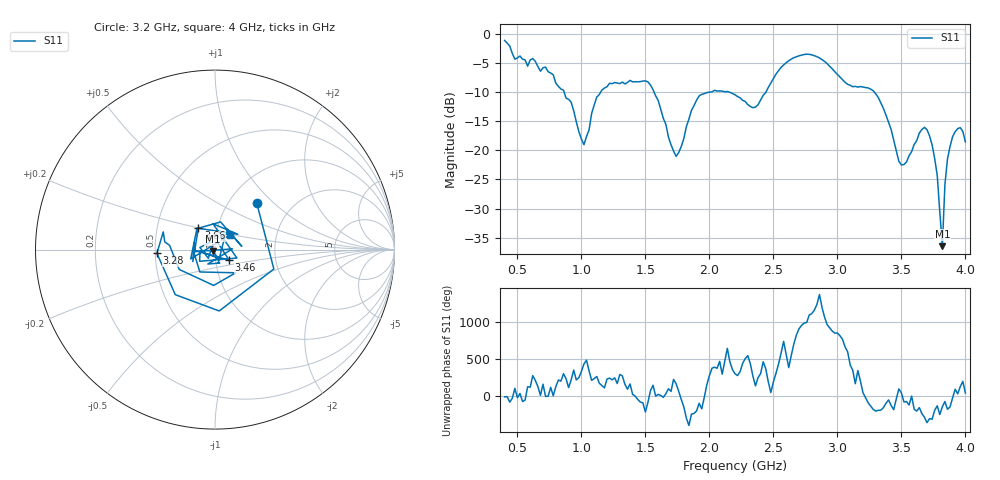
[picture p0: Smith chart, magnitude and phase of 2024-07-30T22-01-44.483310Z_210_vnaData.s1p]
!Created with skrf (http://scikit-rf.org).
# Hz S RI R 50.0
!freq ReS11 ImS11
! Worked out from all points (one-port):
!   181 points, 400 MHz to 4 GHz, reference 50 ohm
!   lowest |S11| = -36.5 dB at 3.82 GHz (marker M1), VSWR 1.03, Z = 48.8 - j0.936 ohm
!   |S11| at or under -10 dB: 1.567 GHz to 2.011 GHz (443.6 MHz wide, 24.8 % of centre); 2.153 GHz to 2.442 GHz (289.3 MHz wide, 12.6 % of centre); 3.288 GHz to end of sweep (the widest 3 of 4)
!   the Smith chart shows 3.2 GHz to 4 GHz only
!   S11 on the Smith chart (normalised r, x): 3.2 GHz: 1.34, +0.79; 3.28 GHz: 0.51, -0.02; 3.46 GHz: 1.16, -0.14; 3.66 GHz: 0.81, +0.20; 4 GHz: 1.17, +0.20
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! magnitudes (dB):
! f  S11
! 400 MHz  -1.2
! 860 MHz  -9.7
! 1.02 GHz  -19.0
! 1.12 GHz  -10.9
! 1.3 GHz  -8.6
! 1.52 GHz  -8.3
! 1.72 GHz  -20.1
! 1.76 GHz  -20.4
! 1.92 GHz  -10.7
! 2.2 GHz  -10.5
! 2.36 GHz  -12.6
! 2.66 GHz  -4.1
! 2.84 GHz  -3.9
! 3.1 GHz  -8.8
! 3.2 GHz  -9.2
! 3.28 GHz  -9.8
! 3.46 GHz  -20.1
! 3.5 GHz  -22.5
! 3.56 GHz  -20.9
! 3.66 GHz  -16.4
! 3.7 GHz  -16.5
! 3.76 GHz  -21.4
! 3.78 GHz  -24.3
! 3.82 GHz  -36.5
! 3.84 GHz  -25.9
! 3.88 GHz  -19.4
! 3.96 GHz  -16.1
! 4 GHz  -18.6
